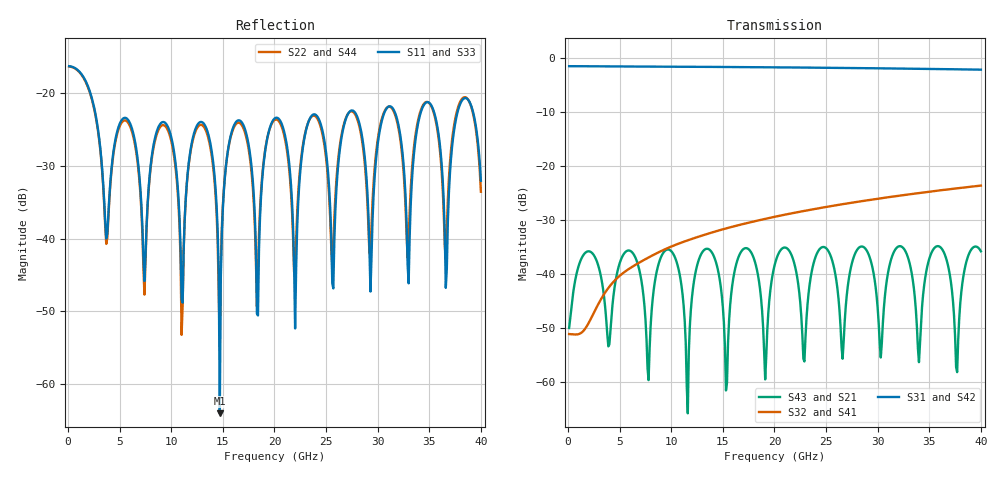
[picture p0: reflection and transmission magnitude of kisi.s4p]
! T_ts6_broadside_o5: Broadside: In2 over In3 across the 0.93 mm core, lateral offset 0.5 mm, 20 mm
! stackup: ThunderScope Rev5.3 6-layer (FR408HR / FR-4, from the board file)
! ports: 1 near A, 2 near B, 3 far A, 4 far B
! kisi-fdtd, conformal, dfine 0.035 mm, 688800 cells
# Hz S RI R 50
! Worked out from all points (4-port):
!   400 points, 100 MHz to 40 GHz, reference 50 ohm
!   strongest paths, dB at 100 MHz, 10.1 GHz, 20.1 GHz, 30.1 GHz, 40 GHz:
!     S31: -1.4, -1.5, -1.6, -1.8, -2.1
!     S42: -1.4, -1.5, -1.7, -1.9, -2.2
!     S32: -51.1, -34.8, -29.3, -26.0, -23.5
!     S41: -51.3, -34.8, -29.3, -26.0, -23.5
!     S43: -49.9, -35.9, -37.7, -49.1, -35.7
!     S21: -49.9, -35.9, -37.7, -49.1, -35.7
!   lowest |S11| = -64.0 dB at 14.7 GHz (marker M1), VSWR 1.00, Z = 49.9 + j0.00409 ohm
!   |S11| at or under -10 dB: start of sweep to end of sweep
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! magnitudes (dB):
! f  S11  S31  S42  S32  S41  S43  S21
! 100 MHz  -16.4  -1.4  -1.4  -51.1  -51.3  -49.9  -49.9
! 11 GHz  -48.4  -1.5  -1.5  -34.1  -34.1  -42.3  -42.3
! 13.4 GHz  -24.9  -1.6  -1.6  -32.6  -32.6  -35.3  -35.3
! 14.7 GHz  -64.0  -1.6  -1.6  -31.8  -31.8  -41.0  -41.0
! 16.3 GHz  -24.0  -1.6  -1.6  -31.0  -31.0  -38.1  -38.1
! 22 GHz  -52.3  -1.7  -1.7  -28.6  -28.6  -38.6  -38.6
! 40 GHz  -32.1  -2.1  -2.2  -23.5  -23.5  -35.7  -35.7
